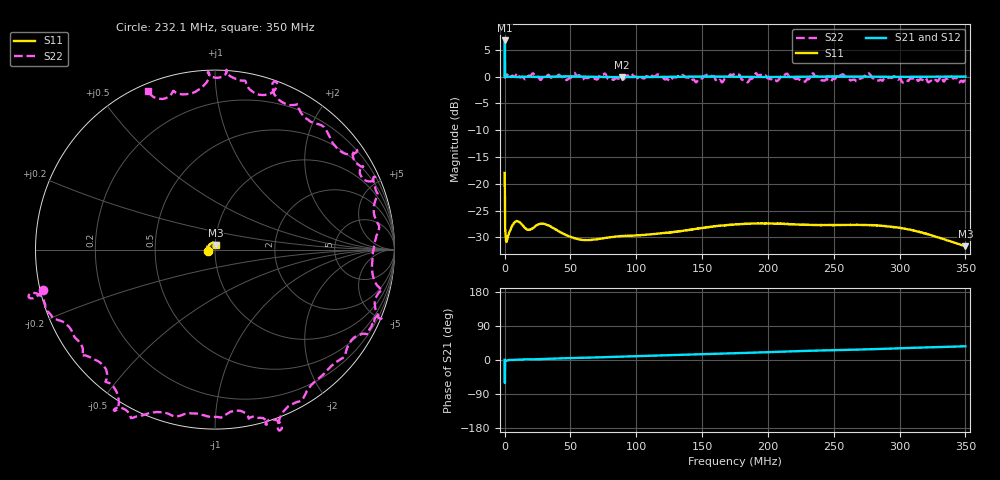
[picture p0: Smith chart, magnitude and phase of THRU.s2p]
# Hz S RI R 50
! RAW DATA - UNCALIBRATED
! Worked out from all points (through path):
!   1601 points, 30 kHz to 350 MHz, reference 50 ohm
!   highest |S21| = 6.73 dB at 248.7 kHz (marker M1); lowest = -0.1 dB at 88.83 MHz (marker M2)
!   lowest |S11| = -31.7 dB at 350 MHz (marker M3), VSWR 1.05, Z = 50.3 + j2.61 ohm
!   |S11| at or under -10 dB: start of sweep to end of sweep
!   |S22| runs from -1.1 to 0.7 dB; largest |S21 - S12| = 0.43
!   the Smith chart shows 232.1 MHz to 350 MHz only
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30000  0.0382 0.1202  0.993 0.00378  0.9749 0.00751  1.045 0.1285
248731.2  -0.0459 0.069  1.063 -1.892  1.495 -1.915  0.9791 0.00269
2217312  -0.0309 -0.00205  0.993 -0.0189  0.996 -0.00952  1.036 0.0699
1.993454e7  -0.0316 0.0201  0.9958 0.0308  0.9938 0.0352  0.6674 0.7787
3.262096e7  -0.0194 0.0362  0.9919 0.0555  1.004 0.0512  0.2148 1.005
5.843124e7  0.00513 0.0295  0.9934 0.1009  0.9957 0.0942  -0.678 0.6707
7.461736e7  0.0159 0.0265  0.9822 0.1254  0.9888 0.1204  -1.041 0.0344
8.883489e7  0.027 0.0181  0.9757 0.1531  0.9869 0.144  -0.8275 -0.4838
1.168325e8  0.033 -0.00898  0.9701 0.2038  0.9814 0.1896  0.106 -1.038
1.338935e8  0.0277 -0.0232  0.9661 0.24  0.9783 0.2214  0.7509 -0.6721
1.535793e8  0.0169 -0.0352  0.9623 0.2754  0.9727 0.253  1.029 0.105
1.75015e8  0.000406 -0.0418  0.9475 0.3062  0.9572 0.2824  0.6273 0.8546
1.971069e8  -0.0188 -0.0383  0.9285 0.3447  0.9418 0.3205  -0.2444 0.985
2.13293e8  -0.0313 -0.0283  0.9174 0.3758  0.9313 0.3492  -0.8691 0.5879
2.334162e8  -0.0404 -0.00845  0.9087 0.4127  0.9224 0.3846  -1.012 -0.2711
2.574767e8  -0.0372 0.0179  0.8978 0.4485  0.9123 0.418  -0.4537 -0.9359
2.675383e8  -0.0315 0.0268  0.8889 0.4606  0.9048 0.4297  0.139 -0.8974
2.771625e8  -0.0247 0.0329  0.8787 0.4741  0.8961 0.441  0.3513 -1.001
2.918175e8  -0.0141 0.0374  0.8607 0.4953  0.8795 0.4623  0.8817 -0.4094
3.195964e8  -0.000227 0.0344  0.8343 0.5439  0.8541 0.5093  0.7875 0.5589
3.309704e8  0.00239 0.031  0.8246 0.5612  0.8467 0.5259  0.3249 0.9318
3.5e8  0.00351 0.0259  0.8066 0.5902  0.8315 0.5535  -0.3729 0.884
